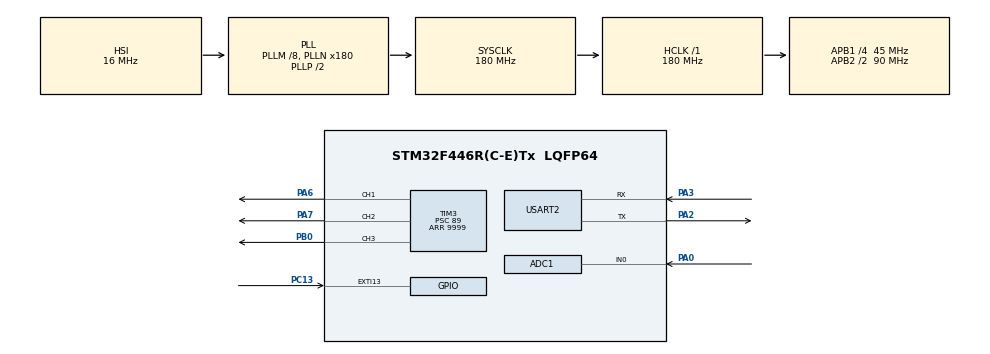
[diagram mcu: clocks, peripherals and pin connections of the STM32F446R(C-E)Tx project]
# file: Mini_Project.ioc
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ADC1.Channel-0\#ChannelRegularConversion=ADC_CHANNEL_0
ADC1.NbrOfConversionFlag=1
ADC1.Rank-0\#ChannelRegularConversion=1
ADC1.SamplingTime-0\#ChannelRegularConversion=ADC_SAMPLETIME_3CYCLES
ADC1.master=1
Mcu.Family=STM32F4
Mcu.Name=STM32F446R(C-E)Tx
Mcu.Package=LQFP64
NVIC.EXTI15_10_IRQn=true\:0\:0\:false\:false\:true\:true\:true\:true
NVIC.PriorityGroup=NVIC_PRIORITYGROUP_4
NVIC.TIM2_IRQn=true\:0\:0\:false\:false\:true\:true\:true\:true
PA0-WKUP.Signal=ADCx_IN0
PA2.Mode=Asynchronous
PA2.Signal=USART2_TX
PA3.Mode=Asynchronous
PA3.Signal=USART2_RX
PA6.Signal=S_TIM3_CH1
PA7.Signal=S_TIM3_CH2
PB0.Signal=S_TIM3_CH3
PC13.GPIO_ModeDefaultEXTI=GPIO_MODE_IT_FALLING
PC13.GPIO_PuPd=GPIO_PULLUP
PC13.Signal=GPXTI13
ProjectManager.HeapSize=0x200
ProjectManager.StackSize=0x400
ProjectManager.TargetToolchain=STM32CubeIDE
RCC.AHBFreq_Value=180000000
RCC.APB1CLKDivider=RCC_HCLK_DIV4
RCC.APB1Freq_Value=45000000
RCC.APB1TimFreq_Value=90000000
RCC.APB2CLKDivider=RCC_HCLK_DIV2
RCC.APB2Freq_Value=90000000
RCC.APB2TimFreq_Value=180000000
RCC.CortexFreq_Value=180000000
RCC.HCLKFreq_Value=180000000
RCC.PLLM=8
RCC.PLLN=180
RCC.SYSCLKFreq_VALUE=180000000
RCC.SYSCLKSource=RCC_SYSCLKSOURCE_PLLCLK
RCC.USBFreq_Value=180000000
RCC.VCOOutputFreq_Value=360000000
SH.ADCx_IN0.0=ADC1_IN0,IN0
SH.S_TIM3_CH1.0=TIM3_CH1,PWM Generation1 CH1
SH.S_TIM3_CH2.0=TIM3_CH2,PWM Generation2 CH2
SH.S_TIM3_CH3.0=TIM3_CH3,PWM Generation3 CH3
TIM2.Period=999
TIM2.Prescaler=8999
TIM3.Channel-PWM\ Generation1\ CH1=TIM_CHANNEL_1
TIM3.Channel-PWM\ Generation2\ CH2=TIM_CHANNEL_2
TIM3.Channel-PWM\ Generation3\ CH3=TIM_CHANNEL_3
TIM3.Period=9999
TIM3.Prescaler=89
USART2.VirtualMode=VM_ASYNC
VP_TIM2_VS_ClockSourceINT.Mode=Internal
VP_TIM3_VS_ClockSourceINT.Mode=Internal
board=custom

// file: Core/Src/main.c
/* USER CODE BEGIN Header */
/**
  ******************************************************************************
  * @file           : main.c
  * @brief          : Main program body
  ******************************************************************************
  * @attention
  *
  * Copyright (c) 2026 STMicroelectronics.
  * All rights reserved.
  *
  * This software is licensed under terms that can be found in the LICENSE file
  * in the root directory of this software component.
  * If no LICENSE file comes with this software, it is provided AS-IS.
  *
  ******************************************************************************
  */
/* USER CODE END Header */
#include "main.h"
#include <stdio.h>
#include <string.h>

/* USER CODE BEGIN PTD */
typedef enum
{
	WHITE, RED, GREEN, BLUE
}LED_Mode;

volatile LED_Mode mode = WHITE;
/* USER CODE END PTD */

ADC_HandleTypeDef hadc1;

TIM_HandleTypeDef htim2;
TIM_HandleTypeDef htim3;

UART_HandleTypeDef huart2;

void SystemClock_Config(void);
static void MX_GPIO_Init(void);
static void MX_ADC1_Init(void);
static void MX_TIM2_Init(void);
static void MX_TIM3_Init(void);
static void MX_USART2_UART_Init(void);
/* USER CODE BEGIN PFP */
char msg[50];
/* USER CODE END PFP */

/* USER CODE BEGIN 0 */
void HAL_TIM_PeriodElapsedCallback(TIM_HandleTypeDef *htim)
{
	if(htim->Instance == TIM2)
	{
		HAL_ADC_Start(&hadc1);
		HAL_ADC_PollForConversion(&hadc1, HAL_MAX_DELAY);
		uint32_t adcValue = HAL_ADC_GetValue(&hadc1);
		HAL_ADC_Stop(&hadc1);

		uint32_t duty = 9999 - ((4095 - adcValue)*9999) /4095;

		sprintf(msg, "ADC = %lu Duty = %lu\r\n", adcValue, duty);

		HAL_UART_Transmit(&huart2, (uint8_t*)msg, strlen(msg), HAL_MAX_DELAY);

		switch(mode)
		{
		case WHITE:
		    __HAL_TIM_SET_COMPARE(&htim3, TIM_CHANNEL_1, duty);
		    __HAL_TIM_SET_COMPARE(&htim3, TIM_CHANNEL_2, duty);
		    __HAL_TIM_SET_COMPARE(&htim3, TIM_CHANNEL_3, duty);
		    break;

		case RED:
		    __HAL_TIM_SET_COMPARE(&htim3, TIM_CHANNEL_1, duty);
		    __HAL_TIM_SET_COMPARE(&htim3, TIM_CHANNEL_2, 0);
		    __HAL_TIM_SET_COMPARE(&htim3, TIM_CHANNEL_3, 0);
		    break;

		case GREEN:
		    __HAL_TIM_SET_COMPARE(&htim3, TIM_CHANNEL_1, 0);
		    __HAL_TIM_SET_COMPARE(&htim3, TIM_CHANNEL_2, duty);
		    __HAL_TIM_SET_COMPARE(&htim3, TIM_CHANNEL_3, 0);
		    break;

		case BLUE:
		    __HAL_TIM_SET_COMPARE(&htim3, TIM_CHANNEL_1, 0);
		    __HAL_TIM_SET_COMPARE(&htim3, TIM_CHANNEL_2, 0);
		    __HAL_TIM_SET_COMPARE(&htim3, TIM_CHANNEL_3, duty);
		    break;
		}

		HAL_UART_Transmit(&huart2, (uint8_t*)msg, strlen(msg), HAL_MAX_DELAY);
	}
}

void HAL_GPIO_EXTI_Callback(uint16_t GPIO_Pin)
{
	static uint32_t lastPress = 0;

	if(GPIO_Pin == GPIO_PIN_13)
	{
		if(HAL_GetTick() - lastPress > 500){

		lastPress = HAL_GetTick();
		mode++;

		if(mode > BLUE)
			mode = WHITE;

		switch(mode){
			case WHITE: {
				sprintf(msg, "MODE: WHITE\r\n");
				break;
			}
			case RED: {
				sprintf(msg, "MODE: RED\r\n");
				break;
			}
			case GREEN: {
				sprintf(msg, "MODE: GREEN\r\n");
				break;
			}
			case BLUE: {
				sprintf(msg, "MODE: BLUE\r\n");
				break;
			}
		}

		HAL_UART_Transmit(&huart2, (uint8_t*)msg, strlen(msg), HAL_MAX_DELAY);
		}
	}
}
/* USER CODE END 0 */

int main(void)
{

  /* MCU Configuration--------------------------------------------------------*/

  /* Reset of all peripherals, Initializes the Flash interface and the Systick. */
  HAL_Init();

  /* Configure the system clock */
  SystemClock_Config();

  /* Initialize all configured peripherals */
  MX_GPIO_Init();
  MX_ADC1_Init();
  MX_TIM2_Init();
  MX_TIM3_Init();
  MX_USART2_UART_Init();
  /* USER CODE BEGIN 2 */
  HAL_TIM_Base_Start_IT(&htim2);

  HAL_TIM_PWM_Start(&htim3, TIM_CHANNEL_1);
  HAL_TIM_PWM_Start(&htim3, TIM_CHANNEL_2);
  HAL_TIM_PWM_Start(&htim3, TIM_CHANNEL_3);

  __HAL_TIM_SET_COMPARE(&htim3, TIM_CHANNEL_1, 999);
  __HAL_TIM_SET_COMPARE(&htim3, TIM_CHANNEL_2, 0);
  __HAL_TIM_SET_COMPARE(&htim3, TIM_CHANNEL_3, 0);
  /* USER CODE END 2 */

  /* Infinite loop */
  while (1)
  {

  }
}

void SystemClock_Config(void)
{
  RCC_OscInitTypeDef RCC_OscInitStruct = {0};
  RCC_ClkInitTypeDef RCC_ClkInitStruct = {0};

  /** Configure the main internal regulator output voltage
  */
  __HAL_RCC_PWR_CLK_ENABLE();
  __HAL_PWR_VOLTAGESCALING_CONFIG(PWR_REGULATOR_VOLTAGE_SCALE1);

  /** Initializes the RCC Oscillators according to the specified parameters
  * in the RCC_OscInitTypeDef structure.
  */
  RCC_OscInitStruct.OscillatorType = RCC_OSCILLATORTYPE_HSI;
  RCC_OscInitStruct.HSIState = RCC_HSI_ON;
  RCC_OscInitStruct.HSICalibrationValue = RCC_HSICALIBRATION_DEFAULT;
  RCC_OscInitStruct.PLL.PLLState = RCC_PLL_ON;
  RCC_OscInitStruct.PLL.PLLSource = RCC_PLLSOURCE_HSI;
  RCC_OscInitStruct.PLL.PLLM = 8;
  RCC_OscInitStruct.PLL.PLLN = 180;
  RCC_OscInitStruct.PLL.PLLP = RCC_PLLP_DIV2;
  RCC_OscInitStruct.PLL.PLLQ = 2;
  RCC_OscInitStruct.PLL.PLLR = 2;
  if (HAL_RCC_OscConfig(&RCC_OscInitStruct) != HAL_OK)
  {
    Error_Handler();
  }

  /** Activate the Over-Drive mode
  */
  if (HAL_PWREx_EnableOverDrive() != HAL_OK)
  {
    Error_Handler();
  }

  /** Initializes the CPU, AHB and APB buses clocks
  */
  RCC_ClkInitStruct.ClockType = RCC_CLOCKTYPE_HCLK|RCC_CLOCKTYPE_SYSCLK
                              |RCC_CLOCKTYPE_PCLK1|RCC_CLOCKTYPE_PCLK2;
  RCC_ClkInitStruct.SYSCLKSource = RCC_SYSCLKSOURCE_PLLCLK;
  RCC_ClkInitStruct.AHBCLKDivider = RCC_SYSCLK_DIV1;
  RCC_ClkInitStruct.APB1CLKDivider = RCC_HCLK_DIV4;
  RCC_ClkInitStruct.APB2CLKDivider = RCC_HCLK_DIV2;

  if (HAL_RCC_ClockConfig(&RCC_ClkInitStruct, FLASH_LATENCY_5) != HAL_OK)
  {
    Error_Handler();
  }
}

static void MX_ADC1_Init(void)
{

  ADC_ChannelConfTypeDef sConfig = {0};

  /** Configure the global features of the ADC (Clock, Resolution, Data Alignment and number of conversion)
  */
  hadc1.Instance = ADC1;
  hadc1.Init.ClockPrescaler = ADC_CLOCK_SYNC_PCLK_DIV4;
  hadc1.Init.Resolution = ADC_RESOLUTION_12B;
  hadc1.Init.ScanConvMode = DISABLE;
  hadc1.Init.ContinuousConvMode = DISABLE;
  hadc1.Init.DiscontinuousConvMode = DISABLE;
  hadc1.Init.ExternalTrigConvEdge = ADC_EXTERNALTRIGCONVEDGE_NONE;
  hadc1.Init.ExternalTrigConv = ADC_SOFTWARE_START;
  hadc1.Init.DataAlign = ADC_DATAALIGN_RIGHT;
  hadc1.Init.NbrOfConversion = 1;
  hadc1.Init.DMAContinuousRequests = DISABLE;
  hadc1.Init.EOCSelection = ADC_EOC_SINGLE_CONV;
  if (HAL_ADC_Init(&hadc1) != HAL_OK)
  {
    Error_Handler();
  }

  /** Configure for the selected ADC regular channel its corresponding rank in the sequencer and its sample time.
  */
  sConfig.Channel = ADC_CHANNEL_0;
  sConfig.Rank = 1;
  sConfig.SamplingTime = ADC_SAMPLETIME_3CYCLES;
  if (HAL_ADC_ConfigChannel(&hadc1, &sConfig) != HAL_OK)
  {
    Error_Handler();
  }

}

static void MX_TIM2_Init(void)
{

  TIM_ClockConfigTypeDef sClockSourceConfig = {0};
  TIM_MasterConfigTypeDef sMasterConfig = {0};

  htim2.Instance = TIM2;
  htim2.Init.Prescaler = 8999;
  htim2.Init.CounterMode = TIM_COUNTERMODE_UP;
  htim2.Init.Period = 999;
  htim2.Init.ClockDivision = TIM_CLOCKDIVISION_DIV1;
  htim2.Init.AutoReloadPreload = TIM_AUTORELOAD_PRELOAD_DISABLE;
  if (HAL_TIM_Base_Init(&htim2) != HAL_OK)
  {
    Error_Handler();
  }
  sClockSourceConfig.ClockSource = TIM_CLOCKSOURCE_INTERNAL;
  if (HAL_TIM_ConfigClockSource(&htim2, &sClockSourceConfig) != HAL_OK)
  {
    Error_Handler();
  }
  sMasterConfig.MasterOutputTrigger = TIM_TRGO_RESET;
  sMasterConfig.MasterSlaveMode = TIM_MASTERSLAVEMODE_DISABLE;
  if (HAL_TIMEx_MasterConfigSynchronization(&htim2, &sMasterConfig) != HAL_OK)
  {
    Error_Handler();
  }

}

static void MX_TIM3_Init(void)
{

  TIM_ClockConfigTypeDef sClockSourceConfig = {0};
  TIM_MasterConfigTypeDef sMasterConfig = {0};
  TIM_OC_InitTypeDef sConfigOC = {0};

  htim3.Instance = TIM3;
  htim3.Init.Prescaler = 89;
  htim3.Init.CounterMode = TIM_COUNTERMODE_UP;
  htim3.Init.Period = 9999;
  htim3.Init.ClockDivision = TIM_CLOCKDIVISION_DIV1;
  htim3.Init.AutoReloadPreload = TIM_AUTORELOAD_PRELOAD_DISABLE;
  if (HAL_TIM_Base_Init(&htim3) != HAL_OK)
  {
    Error_Handler();
  }
  sClockSourceConfig.ClockSource = TIM_CLOCKSOURCE_INTERNAL;
  if (HAL_TIM_ConfigClockSource(&htim3, &sClockSourceConfig) != HAL_OK)
  {
    Error_Handler();
  }
  if (HAL_TIM_PWM_Init(&htim3) != HAL_OK)
  {
    Error_Handler();
  }
  sMasterConfig.MasterOutputTrigger = TIM_TRGO_RESET;
  sMasterConfig.MasterSlaveMode = TIM_MASTERSLAVEMODE_DISABLE;
  if (HAL_TIMEx_MasterConfigSynchronization(&htim3, &sMasterConfig) != HAL_OK)
  {
    Error_Handler();
  }
  sConfigOC.OCMode = TIM_OCMODE_PWM1;
  sConfigOC.Pulse = 0;
  sConfigOC.OCPolarity = TIM_OCPOLARITY_HIGH;
  sConfigOC.OCFastMode = TIM_OCFAST_DISABLE;
  if (HAL_TIM_PWM_ConfigChannel(&htim3, &sConfigOC, TIM_CHANNEL_1) != HAL_OK)
  {
    Error_Handler();
  }
  if (HAL_TIM_PWM_ConfigChannel(&htim3, &sConfigOC, TIM_CHANNEL_2) != HAL_OK)
  {
    Error_Handler();
  }
  if (HAL_TIM_PWM_ConfigChannel(&htim3, &sConfigOC, TIM_CHANNEL_3) != HAL_OK)
  {
    Error_Handler();
  }
  HAL_TIM_MspPostInit(&htim3);

}

static void MX_USART2_UART_Init(void)
{

  huart2.Instance = USART2;
  huart2.Init.BaudRate = 115200;
  huart2.Init.WordLength = UART_WORDLENGTH_8B;
  huart2.Init.StopBits = UART_STOPBITS_1;
  huart2.Init.Parity = UART_PARITY_NONE;
  huart2.Init.Mode = UART_MODE_TX_RX;
  huart2.Init.HwFlowCtl = UART_HWCONTROL_NONE;
  huart2.Init.OverSampling = UART_OVERSAMPLING_16;
  if (HAL_UART_Init(&huart2) != HAL_OK)
  {
    Error_Handler();
  }

}

static void MX_GPIO_Init(void)
{
  GPIO_InitTypeDef GPIO_InitStruct = {0};

  /* GPIO Ports Clock Enable */
  __HAL_RCC_GPIOC_CLK_ENABLE();
  __HAL_RCC_GPIOA_CLK_ENABLE();
  __HAL_RCC_GPIOB_CLK_ENABLE();

  /*Configure GPIO pin : PC13 */
  GPIO_InitStruct.Pin = GPIO_PIN_13;
  GPIO_InitStruct.Mode = GPIO_MODE_IT_FALLING;
  GPIO_InitStruct.Pull = GPIO_PULLUP;
  HAL_GPIO_Init(GPIOC, &GPIO_InitStruct);

  /* EXTI interrupt init*/
  HAL_NVIC_SetPriority(EXTI15_10_IRQn, 0, 0);
  HAL_NVIC_EnableIRQ(EXTI15_10_IRQn);

}

void Error_Handler(void)
{
  __disable_irq();
  while (1)
  {
  }
}
